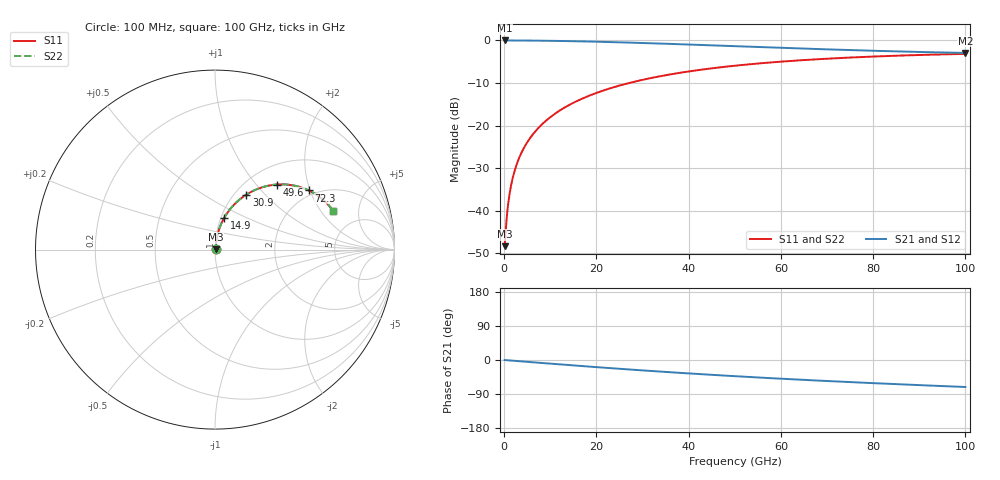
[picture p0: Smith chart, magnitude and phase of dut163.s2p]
! Touchstone file exported from HFSS 2026.1.0
!  File:  C:/ffzhzh/LocalFiles/Ansys_Project_Files/temp_train_RDL_163_1783500093_55944.aedt
!  Generated:  04:42:38 PM Jul  8, 2026
!  Design:  RDL
!  Project:  temp_train_RDL_163_1783500093_55944
! Variables:
!  h_bsmrdl = 2um
!  h_ox = 20um
!  h_rdl = 5um
!  h_sub = 80um
!  h_tmrdl = 2.03um
!  h_tsv = 80um
!  h_via = 3um
!  l_bsmrdl = 300um
!  l_sub = 597.32um
!  l_tmrdl = 197.32um
!  m_sub = 200um
!  pitch = 40.37um
!  r_tsv = 6um
!  s_tmrdl = 10um
!  w_bsmrdl = 18um
!  w_sub = 500um
!  w_tmrdl = 10.22um
!  x_tsv_center1 = 202.43um
!  x_tsv_center2 = 520.43um
!  x_tsv_center3 = 727.97um
!  x_tsv_center4 = 1045.97um
!  x_tsv_center5 = 1253.51um
!  x_tsv_center6 = 1571.51um
# GHz S MA R 50.000000
! Terminal data exported
! Port[1] = TM_RDL1_1_T1
! Port[2] = TM_RDL1_1_T2
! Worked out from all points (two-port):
!   1000 points, 100 MHz to 100 GHz, reference 50 ohm
!   highest |S21| = -0.03 dB at 100 MHz (marker M1); lowest = -3.0 dB at 100 GHz (marker M2)
!   |S21| within 3 dB of the highest: start of sweep to end of sweep
!   lowest |S11| = -48.3 dB at 100 MHz (marker M3), VSWR 1.01, Z = 50.4 + j0.133 ohm
!   |S11| at or under -10 dB: start of sweep to 27.18 GHz
!   |S22| runs from -48.3 to -3.2 dB; largest |S21 - S12| = 5.5e-15
!   S11 on the Smith chart (normalised r, x): 100 MHz: 1.01, +0.00; 14.9 GHz: 1.04, +0.38; 30.9 GHz: 1.13, +0.79; 49.6 GHz: 1.34, +1.29; 72.3 GHz: 1.84, +1.96; 100 GHz: 3.21, +2.65
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0.1  0.003832 20.1  0.9964 -0.1  0.9964 -0.1  0.003832 20.1
! Gamma 0 0 0 0
! Port Impedance 50 0 50 0
0.4  0.006421 54.9  0.9963 -0.4  0.9963 -0.4  0.006421 54.9
1  0.01358 72.4  0.996 -1.0  0.996 -1.0  0.01358 72.4
1.3  0.01729 75.4  0.9959 -1.3  0.9959 -1.3  0.01729 75.4
1.6  0.02101 77.3  0.9957 -1.6  0.9957 -1.6  0.02101 77.3
2.1  0.02723 79.2  0.9955 -2.1  0.9955 -2.1  0.02723 79.2
2.6  0.03347 80.2  0.9952 -2.5  0.9952 -2.5  0.03347 80.2
4  0.05097 81.1  0.9943 -3.9  0.9943 -3.9  0.05097 81.1
5.9  0.07466 80.7  0.9926 -5.7  0.9926 -5.7  0.07466 80.7
8.3  0.1043 79.3  0.9896 -8.0  0.9896 -8.0  0.1043 79.3
11.3  0.1408 76.9  0.9846 -10.8  0.9846 -10.8  0.1408 77.0
14.9  0.1835 73.9  0.9769 -14.2  0.9769 -14.2  0.1835 73.9
16.8  0.2053 72.2  0.9722 -15.9  0.9722 -15.9  0.2053 72.3
23.2  0.2756 66.7  0.9537 -21.7  0.9537 -21.7  0.2756 66.8
30.9  0.3521 60.4  0.9272 -28.2  0.9272 -28.2  0.3521 60.4
33.4  0.3751 58.4  0.918 -30.2  0.918 -30.2  0.3751 58.4
49.6  0.5006 46.4  0.8556 -42.4  0.8556 -42.4  0.5006 46.5
50.1  0.5039 46.0  0.8537 -42.8  0.8537 -42.8  0.5039 46.1
66.7  0.5942 35.5  0.794 -53.5  0.794 -53.5  0.5942 35.6
72.3  0.6176 32.2  0.7763 -56.8  0.7763 -56.8  0.6176 32.4
83.4  0.6552 26.2  0.7454 -62.9  0.7454 -62.9  0.6552 26.4
100  0.6934 18.0  0.7109 -71.2  0.7109 -71.2  0.6934 18.2
